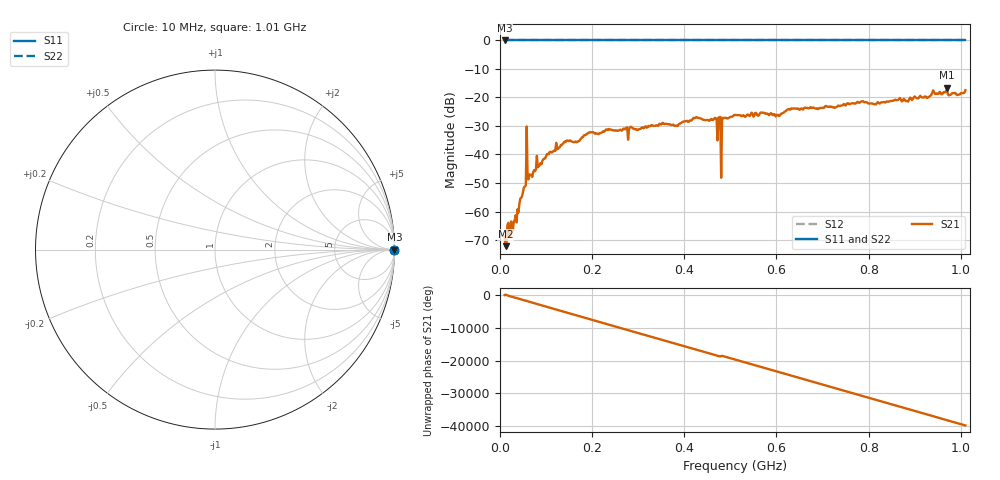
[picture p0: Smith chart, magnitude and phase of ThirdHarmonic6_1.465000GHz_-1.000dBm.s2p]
! 8/16/2025 5:03:20 PM
! C:\ANRITSUVNA\TEMP\TEMP.S2P
! CHANNEL.1
! TR.MEASUREMENT
! RAW.DATA
! RF.CORRECTION.OFF
! AVERAGING.OFF
! IF.BANDWIDTH: 5KHZ
! SWEEPTYPE:  FREQ.SWEEP(Linear)
! Reference Plane Port Info
! PORT:  PORT1  PORT2
! DISTANCE:  0  m  0  m
! TIME:  0  s  0  s
! PHASE.OFFSET:  0  deg.  0  deg.
! LOSS:  0  dB  0  dB
! REF.LOSS:  0  dB  0  dB
! REF.FREQ:  0  Hz  0  Hz
! Power Info
! POWER:  -20  dBm  -20  dBm
! EFF.POWER:  -20  dBm  -20  dBm
! SOURCE.ATTEN:  0  dB  0  dB
! TEST.ATTEN:  0  dB  0  dB
# GHZ S RI R 50.0
! FREQ.GHZ  S11RE  S11IM  S21RE  S21IM  S12RE  S12IM  S22RE  S22IM
!; PortSelection: Port_12
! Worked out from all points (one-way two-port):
!   501 points, 10 MHz to 1.01 GHz, reference 50 ohm
!   highest |S21| = -16.57 dB at 970 MHz (marker M1); lowest = -72.2 dB at 12 MHz (marker M2)
!   lowest |S11| = 0.0 dB at 10 MHz (marker M3)
!   |S11| at or under -10 dB: nowhere
!   |S22| runs from 0.0 to 0.0 dB; largest |S21 - S12| = 1.1
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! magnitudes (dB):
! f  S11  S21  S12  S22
! 10 MHz  0.0  -68.9  0.0  0.0
! 12 MHz  0.0  -72.2  0.0  0.0
! 32 MHz  0.0  -63.0  0.0  0.0
! 52 MHz  0.0  -51.5  0.0  0.0
! 54 MHz  0.0  -51.3  0.0  0.0
! 62 MHz  0.0  -48.7  0.0  0.0
! 64 MHz  0.0  -47.0  0.0  0.0
! 66 MHz  0.0  -47.1  0.0  0.0
! 106 MHz  0.0  -39.9  0.0  0.0
! 178 MHz  0.0  -33.9  0.0  0.0
! 344 MHz  0.0  -29.9  0.0  0.0
! 466 MHz  0.0  -27.2  0.0  0.0
! 474 MHz  0.0  -27.0  0.0  0.0
! 476 MHz  0.0  -27.0  0.0  0.0
! 484 MHz  0.0  -27.3  0.0  0.0
! 486 MHz  0.0  -27.2  0.0  0.0
! 510 MHz  0.0  -26.1  0.0  0.0
! 602 MHz  0.0  -26.1  0.0  0.0
! 678 MHz  0.0  -23.6  0.0  0.0
! 844 MHz  0.0  -21.4  0.0  0.0
! 970 MHz  0.0  -16.6  0.0  0.0
! 1.01 GHz  0.0  -17.5  0.0  0.0
